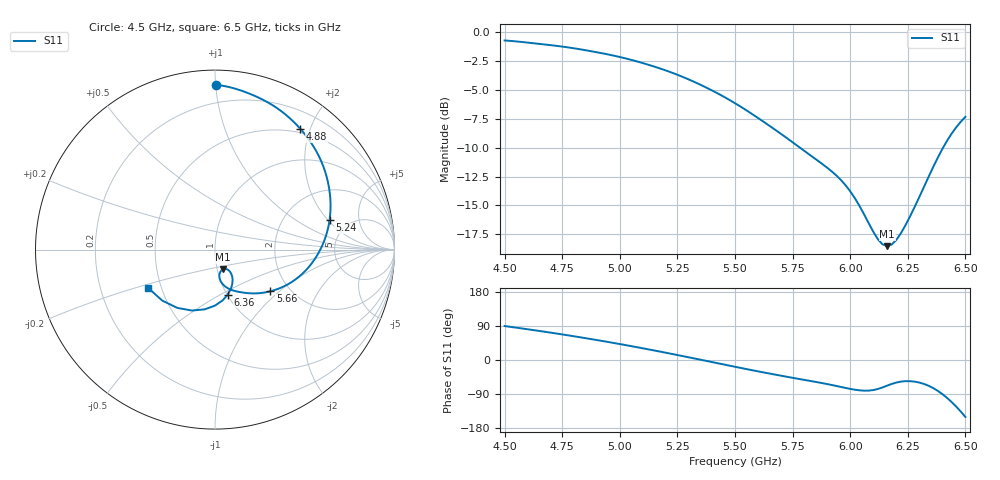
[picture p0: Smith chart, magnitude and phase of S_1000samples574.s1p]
! TOUCHSTONE file generated by CST MICROWAVE STUDIO
! Date and time: Fri Oct 28 15:49:23 2022
! Project name: L.cst
! Parameters = {Di=1.27; Epsilon_r=1.56; InnerDiameter=1.27; Length=2; Lf=10; Lg=60; OuterConductorThickness=0.2921; OuterDiameter=3.6; Wf=3; Wp=41.2; de=1.5; df=6.8; g=0.8; gx=2.23182; gy=4.39983; h=2.34; hf=1.524; px=13.1719; py=8.85772; w=9.7; wx=10.9401; wy=4.45789}
! Header version: 2018
! Port assignment regex: !\s*Touchstone port\s*([0-9]+)\s*=\s*(CST MWS port|CST DS port)\s*([0-9]+|Zmin|Zmax)\s*\(\"(.*)\"\)(\s*mode\s*([0-9]+))?.*
! Touchstone port assignment:
! Touchstone port 1 = CST MWS port 1 ("")
# GHz S DB R 50
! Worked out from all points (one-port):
!   101 points, 4.5 GHz to 6.5 GHz, reference 50 ohm
!   lowest |S11| = -18.5 dB at 6.16 GHz (marker M1), VSWR 1.27, Z = 53.3 - j11.9 ohm
!   |S11| at or under -10 dB: 5.782 GHz to 6.403 GHz (621.9 MHz wide, 10.2 % of centre)
!   S11 on the Smith chart (normalised r, x): 4.5 GHz: 0.09, +1.00; 4.88 GHz: 0.44, +1.85; 5.24 GHz: 3.59, +2.07; 5.66 GHz: 1.60, -0.87; 6.36 GHz: 1.01, -0.54; 6.5 GHz: 0.42, -0.22
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4.5  -0.74 89.6
4.62  -0.97 79.3
4.76  -1.30 66.6
4.88  -1.68 54.7
5  -2.17 42.1
5.12  -2.81 28.6
5.24  -3.63 14.3
5.26  -3.78 11.9
5.38  -4.86 -2.9
5.5  -6.16 -17.9
5.58  -7.18 -27.6
5.66  -8.26 -36.9
5.76  -9.68 -48.1
5.92  -12.06 -66.0
6  -13.77 -76.2
6.06  -15.76 -80.9
6.12  -17.91 -76.5
6.16  -18.52 -67.8
6.2  -17.98 -59.5
6.26  -15.94 -55.9
6.32  -13.40 -63.1
6.36  -11.69 -74.0
6.4  -10.12 -90.0
6.42  -9.42 -99.8
6.44  -8.80 -110.8
6.46  -8.25 -122.9
6.48  -7.76 -136.1
6.5  -7.34 -150.3
